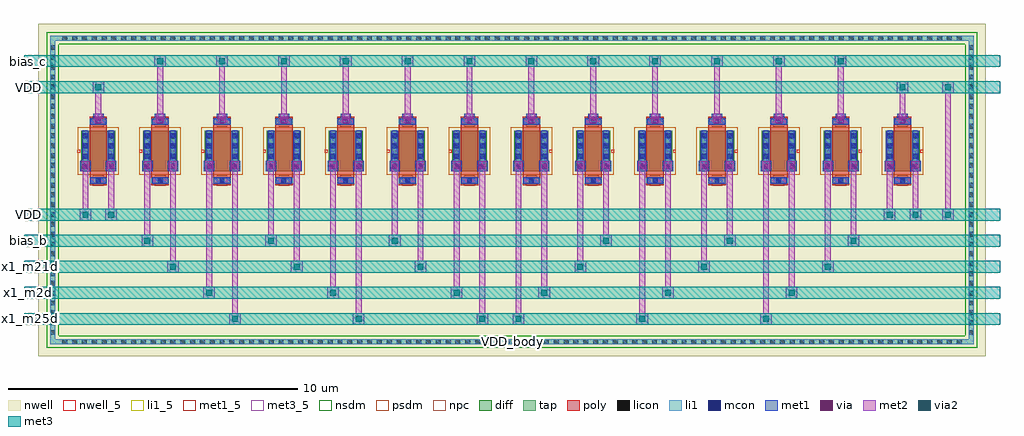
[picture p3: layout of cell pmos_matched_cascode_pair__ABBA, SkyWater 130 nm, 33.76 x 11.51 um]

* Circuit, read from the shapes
.subckt pmos_matched_cascode_pair__ABBA VDD VDD_body bias_b bias_c x1_m21d x1_m25d x1_m2d
XM1 VDD VDD VDD VDD_body sky130_fd_pr__pfet_01v8 w=1.4 l=0.6 m=2
XM2 x1_m21d bias_c bias_b VDD_body sky130_fd_pr__pfet_01v8 w=1.4 l=0.6 m=6
XM3 x1_m25d bias_c x1_m2d VDD_body sky130_fd_pr__pfet_01v8 w=1.4 l=0.6 m=6
.ends

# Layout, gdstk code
from math import pi, radians
import gdstk
lib = gdstk.Library(unit=1e-6, precision=1e-09)
def R(c, l, rs):  # rectangles x0, y0, x1, y1
    for r in rs: c.add(gdstk.rectangle(r[:2], r[2:], *l))
def A(c, l, x, y, w, h, nx, ny, dx, dy):  # array of equal rectangles
    R(c, l, [(x+i*dx, y+j*dy, x+i*dx+w, y+j*dy+h) for i in range(nx) for j in range(ny)])
nwell_5 = (64, 5)
nwell = (64, 20)
diff = (65, 20)
tap = (65, 44)
poly = (66, 20)
licon = (66, 44)
li1_5 = (67, 5)
li1 = (67, 20)
mcon = (67, 44)
met1_5 = (68, 5)
met1 = (68, 20)
via = (68, 44)
met2 = (69, 20)
via2 = (69, 44)
met3_5 = (70, 5)
met3 = (70, 20)
nsdm = (93, 44)
psdm = (94, 20)
npc = (95, 20)

sky130_fd_pr__pfet_01v8_ = lib.new_cell('sky130_fd_pr__pfet_01v8_RGDEC8')
R(sky130_fd_pr__pfet_01v8_, nwell, [(-0.77,-1.2,0.77,1.2)])
R(sky130_fd_pr__pfet_01v8_, diff, [(-0.59,-0.7,0.59,0.7)])
R(sky130_fd_pr__pfet_01v8_, poly, [(-0.3,-1.185,0.3,1.185)])
A(sky130_fd_pr__pfet_01v8_, licon, -0.53, -0.595, 0.17, 0.17, 1, 4, 0, 0.34)
A(sky130_fd_pr__pfet_01v8_, licon, 0.36, -0.595, 0.17, 0.17, 1, 4, 0, 0.34)
R(sky130_fd_pr__pfet_01v8_, licon, [(-0.085,-1.105,0.085,-0.935), (-0.085,0.935,0.085,1.105)])
R(sky130_fd_pr__pfet_01v8_, li1, [(-0.3,-1.105,0.3,-0.935), (-0.53,-0.72,-0.36,0.72), (0.36,-0.72,0.53,0.72), (-0.3,0.935,0.3,1.105)])
A(sky130_fd_pr__pfet_01v8_, mcon, -0.53, -0.625, 0.17, 0.17, 1, 4, 0, 0.36)
A(sky130_fd_pr__pfet_01v8_, mcon, 0.36, -0.625, 0.17, 0.17, 1, 4, 0, 0.36)
R(sky130_fd_pr__pfet_01v8_, mcon, [(-0.085,-1.105,0.085,-0.935), (-0.085,0.935,0.085,1.105)])
R(sky130_fd_pr__pfet_01v8_, met1, [(-0.28,-1.135,0.28,-0.905), (-0.56,-0.7,-0.33,0.7), (0.33,-0.7,0.56,0.7), (-0.28,0.905,0.28,1.135)])
R(sky130_fd_pr__pfet_01v8_, psdm, [(-0.715,-0.825,0.715,0.825)])
R(sky130_fd_pr__pfet_01v8_, npc, [(-0.185,-1.205,0.185,-0.835), (-0.185,0.835,0.185,1.205)])
sky130_fd_pr__pfet_01v8_.add(gdstk.Label('D', (-0.445,0), layer=67, texttype=5))
sky130_fd_pr__pfet_01v8_.add(gdstk.Label('S', (0.445,0), layer=67, texttype=5))
sky130_fd_pr__pfet_01v8_.add(gdstk.Label('G', (0,1.02), layer=67, texttype=5))

pfet_01v8_w1p4_l0p6_m6__ = lib.new_cell('pfet_01v8_W1p4_L0p6_m6__nf1_gboth_sdfull_ng')
R(pfet_01v8_w1p4_l0p6_m6__, nwell_5, [(0.05,1.15,0.15,1.25)])
R(pfet_01v8_w1p4_l0p6_m6__, nwell, [(0.05,1.15,0.15,1.25)])
R(pfet_01v8_w1p4_l0p6_m6__, met1_5, [(0.21,1.2,0.44,1.4), (1.1,1.2,1.33,1.4), (0.49,2.105,1.05,2.335)])
R(pfet_01v8_w1p4_l0p6_m6__, met1, [(0.21,1.2,0.44,1.4), (1.1,1.2,1.33,1.4), (0.49,2.105,1.05,2.335)])
pfet_01v8_w1p4_l0p6_m6__.add(gdstk.Reference(sky130_fd_pr__pfet_01v8_, (0.77,1.2)))
pfet_01v8_w1p4_l0p6_m6__.add(gdstk.Label('D', (0.325,1.3), layer=68, texttype=5))
pfet_01v8_w1p4_l0p6_m6__.add(gdstk.Label('S', (1.215,1.3), layer=68, texttype=5))
pfet_01v8_w1p4_l0p6_m6__.add(gdstk.Label('G', (0.77,2.22), layer=68, texttype=5))
pfet_01v8_w1p4_l0p6_m6__.add(gdstk.Label('B', (0.1,1.2), layer=64, texttype=5))

pmos_matched_cascode_pai = lib.new_cell('pmos_matched_cascode_pair__ABBA')
R(pmos_matched_cascode_pai, nwell, [(-1.3,-5.9,31.46,5.61)])
R(pmos_matched_cascode_pai, tap, [(-0.885,-5.485,31.045,-5.315), (-0.885,-5.315,-0.715,5.025), (30.875,-5.315,31.045,5.025), (-0.885,5.025,31.045,5.195)])
A(pmos_matched_cascode_pai, licon, -0.475, -5.485, 0.17, 0.17, 92, 2, 0.34, 10.51)
A(pmos_matched_cascode_pai, licon, -0.885, -5.16, 0.17, 0.17, 1, 30, 0, 0.34)
A(pmos_matched_cascode_pai, licon, 30.875, -5.16, 0.17, 0.17, 1, 30, 0, 0.34)
R(pmos_matched_cascode_pai, li1_5, [(15.03,-5.45,15.13,-5.35)])
R(pmos_matched_cascode_pai, li1, [(-0.885,-5.485,31.045,-5.315), (-0.885,-5.315,-0.715,5.025), (30.875,-5.315,31.045,5.025), (-0.885,5.025,31.045,5.195)])
A(pmos_matched_cascode_pai, met1, 0.59, 2.14, 0.36, 0.36, 14, 1, 2.14, 0)
R(pmos_matched_cascode_pai, met1, [(0.145,0.505,0.505,0.865), (1.035,0.505,1.395,0.865), (2.285,0.505,2.645,0.865), (3.175,0.505,3.535,0.865), (4.425,0.505,4.785,0.865), (5.315,0.505,5.675,0.865), (6.565,0.505,6.925,0.865), (7.455,0.505,7.815,0.865), (8.705,0.505,9.065,0.865), (9.595,0.505,9.955,0.865), (10.845,0.505,11.205,0.865), (11.735,0.505,12.095,0.865), (12.985,0.505,13.345,0.865), (13.875,0.505,14.235,0.865), (15.125,0.505,15.485,0.865), (16.015,0.505,16.375,0.865), (17.265,0.505,17.625,0.865), (18.155,0.505,18.515,0.865), (19.405,0.505,19.765,0.865), (20.295,0.505,20.655,0.865), (21.545,0.505,21.905,0.865), (22.435,0.505,22.795,0.865), (23.685,0.505,24.045,0.865), (24.575,0.505,24.935,0.865), (25.825,0.505,26.185,0.865), (26.715,0.505,27.075,0.865), (27.965,0.505,28.325,0.865), (28.855,0.505,29.215,0.865)])
A(pmos_matched_cascode_pai, via, 0.695, 2.245, 0.15, 0.15, 14, 1, 2.14, 0)
R(pmos_matched_cascode_pai, via, [(0.25,0.61,0.4,0.76), (1.14,0.61,1.29,0.76), (2.39,0.61,2.54,0.76), (3.28,0.61,3.43,0.76), (4.53,0.61,4.68,0.76), (5.42,0.61,5.57,0.76), (6.67,0.61,6.82,0.76), (7.56,0.61,7.71,0.76), (8.81,0.61,8.96,0.76), (9.7,0.61,9.85,0.76), (10.95,0.61,11.1,0.76), (11.84,0.61,11.99,0.76), (13.09,0.61,13.24,0.76), (13.98,0.61,14.13,0.76), (15.23,0.61,15.38,0.76), (16.12,0.61,16.27,0.76), (17.37,0.61,17.52,0.76), (18.26,0.61,18.41,0.76), (19.51,0.61,19.66,0.76), (20.4,0.61,20.55,0.76), (21.65,0.61,21.8,0.76), (22.54,0.61,22.69,0.76), (23.79,0.61,23.94,0.76), (24.68,0.61,24.83,0.76), (25.93,0.61,26.08,0.76), (26.82,0.61,26.97,0.76), (28.07,0.61,28.22,0.76), (28.96,0.61,29.11,0.76)])
A(pmos_matched_cascode_pai, met2, 5.295, -4.8, 0.4, 0.4, 3, 1, 4.28, 0)
A(pmos_matched_cascode_pai, met2, 15.105, -4.8, 0.4, 0.4, 3, 1, 4.28, 0)
A(pmos_matched_cascode_pai, met2, 5.395, -4.4, 0.2, 4.925, 3, 1, 4.28, 0)
A(pmos_matched_cascode_pai, met2, 15.205, -4.4, 0.2, 4.925, 3, 1, 4.28, 0)
A(pmos_matched_cascode_pai, met2, 4.405, -3.9, 0.4, 0.4, 3, 1, 4.28, 0)
A(pmos_matched_cascode_pai, met2, 15.995, -3.9, 0.4, 0.4, 3, 1, 4.28, 0)
A(pmos_matched_cascode_pai, met2, 4.505, -3.5, 0.2, 4.025, 3, 1, 4.28, 0)
A(pmos_matched_cascode_pai, met2, 16.095, -3.5, 0.2, 4.025, 3, 1, 4.28, 0)
A(pmos_matched_cascode_pai, met2, 3.155, -3, 0.4, 0.4, 3, 1, 4.28, 0)
A(pmos_matched_cascode_pai, met2, 17.245, -3, 0.4, 0.4, 3, 1, 4.28, 0)
A(pmos_matched_cascode_pai, met2, 3.255, -2.6, 0.2, 3.125, 3, 1, 4.28, 0)
A(pmos_matched_cascode_pai, met2, 17.345, -2.6, 0.2, 3.125, 3, 1, 4.28, 0)
A(pmos_matched_cascode_pai, met2, 2.265, -2.1, 0.4, 0.4, 3, 1, 4.28, 0)
A(pmos_matched_cascode_pai, met2, 18.135, -2.1, 0.4, 0.4, 3, 1, 4.28, 0)
A(pmos_matched_cascode_pai, met2, 2.365, -1.7, 0.2, 2.225, 3, 1, 4.28, 0)
A(pmos_matched_cascode_pai, met2, 18.235, -1.7, 0.2, 2.225, 3, 1, 4.28, 0)
A(pmos_matched_cascode_pai, met2, 0.64, 2.16, 0.26, 0.32, 14, 1, 2.14, 0)
A(pmos_matched_cascode_pai, met2, 2.81, 2.48, 0.2, 1.63, 12, 1, 2.14, 0)
A(pmos_matched_cascode_pai, met2, 2.71, 4.11, 0.4, 0.4, 12, 1, 2.14, 0)
R(pmos_matched_cascode_pai, met2, [(0.125,-1.2,0.525,-0.8), (1.015,-1.2,1.415,-0.8), (27.945,-1.2,28.345,-0.8), (28.835,-1.2,29.235,-0.8), (29.96,-1.2,30.36,-0.8), (0.225,-0.8,0.425,0.525), (1.115,-0.8,1.315,0.525), (28.045,-0.8,28.245,0.525), (28.935,-0.8,29.135,0.525), (30.06,-0.8,30.26,3.21), (0.195,0.525,0.455,0.845), (1.085,0.525,1.345,0.845), (2.335,0.525,2.595,0.845), (3.225,0.525,3.485,0.845), (4.475,0.525,4.735,0.845), (5.365,0.525,5.625,0.845), (6.615,0.525,6.875,0.845), (7.505,0.525,7.765,0.845), (8.755,0.525,9.015,0.845), (9.645,0.525,9.905,0.845), (10.895,0.525,11.155,0.845), (11.785,0.525,12.045,0.845), (13.035,0.525,13.295,0.845), (13.925,0.525,14.185,0.845), (15.175,0.525,15.435,0.845), (16.065,0.525,16.325,0.845), (17.315,0.525,17.575,0.845), (18.205,0.525,18.465,0.845), (19.455,0.525,19.715,0.845), (20.345,0.525,20.605,0.845), (21.595,0.525,21.855,0.845), (22.485,0.525,22.745,0.845), (23.735,0.525,23.995,0.845), (24.625,0.525,24.885,0.845), (25.875,0.525,26.135,0.845), (26.765,0.525,27.025,0.845), (28.015,0.525,28.275,0.845), (28.905,0.525,29.165,0.845), (0.67,2.48,0.87,3.21), (28.49,2.48,28.69,3.21), (0.57,3.21,0.97,3.61), (28.39,3.21,28.79,3.61), (29.96,3.21,30.36,3.61)])
A(pmos_matched_cascode_pai, via2, 5.395, -4.7, 0.2, 0.2, 3, 1, 4.28, 0)
A(pmos_matched_cascode_pai, via2, 15.205, -4.7, 0.2, 0.2, 3, 1, 4.28, 0)
A(pmos_matched_cascode_pai, via2, 4.505, -3.8, 0.2, 0.2, 3, 1, 4.28, 0)
A(pmos_matched_cascode_pai, via2, 16.095, -3.8, 0.2, 0.2, 3, 1, 4.28, 0)
A(pmos_matched_cascode_pai, via2, 3.255, -2.9, 0.2, 0.2, 3, 1, 4.28, 0)
A(pmos_matched_cascode_pai, via2, 17.345, -2.9, 0.2, 0.2, 3, 1, 4.28, 0)
A(pmos_matched_cascode_pai, via2, 2.365, -2, 0.2, 0.2, 3, 1, 4.28, 0)
A(pmos_matched_cascode_pai, via2, 18.235, -2, 0.2, 0.2, 3, 1, 4.28, 0)
A(pmos_matched_cascode_pai, via2, 2.81, 4.21, 0.2, 0.2, 12, 1, 2.14, 0)
R(pmos_matched_cascode_pai, via2, [(0.225,-1.1,0.425,-0.9), (1.115,-1.1,1.315,-0.9), (28.045,-1.1,28.245,-0.9), (28.935,-1.1,29.135,-0.9), (30.06,-1.1,30.26,-0.9), (0.67,3.31,0.87,3.51), (28.49,3.31,28.69,3.51), (30.06,3.31,30.26,3.51)])
A(pmos_matched_cascode_pai, met3_5, -1.7, -4.65, 0.1, 0.1, 1, 5, 0, 0.9)
R(pmos_matched_cascode_pai, met3_5, [(-1.7,3.36,-1.6,3.46), (-1.7,4.26,-1.6,4.36)])
A(pmos_matched_cascode_pai, met3, -1.8, -4.8, 33.76, 0.4, 1, 5, 0, 0.9)
R(pmos_matched_cascode_pai, met3, [(-1.8,3.21,31.96,3.61), (-1.8,4.11,31.96,4.51)])
R(pmos_matched_cascode_pai, nsdm, [(-1.01,-5.61,31.17,-5.19), (-1.01,-5.19,-0.59,4.9), (30.75,-5.19,31.17,4.9), (-1.01,4.9,31.17,5.32)])
pmos_matched_cascode_pai.add(gdstk.Reference(pfet_01v8_w1p4_l0p6_m6__, (29.36,0), rotation=pi, x_reflection=True))
pmos_matched_cascode_pai.add(gdstk.Reference(pfet_01v8_w1p4_l0p6_m6__, (27.22,0), rotation=pi, x_reflection=True))
pmos_matched_cascode_pai.add(gdstk.Reference(pfet_01v8_w1p4_l0p6_m6__, (25.08,0), rotation=pi, x_reflection=True))
pmos_matched_cascode_pai.add(gdstk.Reference(pfet_01v8_w1p4_l0p6_m6__, (22.94,0), rotation=pi, x_reflection=True))
pmos_matched_cascode_pai.add(gdstk.Reference(pfet_01v8_w1p4_l0p6_m6__, (20.8,0), rotation=pi, x_reflection=True))
pmos_matched_cascode_pai.add(gdstk.Reference(pfet_01v8_w1p4_l0p6_m6__, (18.66,0), rotation=pi, x_reflection=True))
pmos_matched_cascode_pai.add(gdstk.Reference(pfet_01v8_w1p4_l0p6_m6__, (16.52,0), rotation=pi, x_reflection=True))
pmos_matched_cascode_pai.add(gdstk.Reference(pfet_01v8_w1p4_l0p6_m6__, (12.84,0)))
pmos_matched_cascode_pai.add(gdstk.Reference(pfet_01v8_w1p4_l0p6_m6__, (10.7,0)))
pmos_matched_cascode_pai.add(gdstk.Reference(pfet_01v8_w1p4_l0p6_m6__, (8.56,0)))
pmos_matched_cascode_pai.add(gdstk.Reference(pfet_01v8_w1p4_l0p6_m6__, (6.42,0)))
pmos_matched_cascode_pai.add(gdstk.Reference(pfet_01v8_w1p4_l0p6_m6__, (4.28,0)))
pmos_matched_cascode_pai.add(gdstk.Reference(pfet_01v8_w1p4_l0p6_m6__, (2.14,0)))
pmos_matched_cascode_pai.add(gdstk.Reference(pfet_01v8_w1p4_l0p6_m6__, (0,0)))
pmos_matched_cascode_pai.add(gdstk.Label('VDD', (-1.65,3.41), layer=70, texttype=5))
pmos_matched_cascode_pai.add(gdstk.Label('bias_c', (-1.65,4.31), layer=70, texttype=5))
pmos_matched_cascode_pai.add(gdstk.Label('VDD', (-1.65,-1), layer=70, texttype=5))
pmos_matched_cascode_pai.add(gdstk.Label('bias_b', (-1.65,-1.9), layer=70, texttype=5))
pmos_matched_cascode_pai.add(gdstk.Label('x1_m21d', (-1.65,-2.8), layer=70, texttype=5))
pmos_matched_cascode_pai.add(gdstk.Label('x1_m2d', (-1.65,-3.7), layer=70, texttype=5))
pmos_matched_cascode_pai.add(gdstk.Label('x1_m25d', (-1.65,-4.6), layer=70, texttype=5))
pmos_matched_cascode_pai.add(gdstk.Label('VDD_body', (15.08,-5.4), layer=67, texttype=5))

lib.write_gds('pmos_matched_cascode_pair__ABBA.gds')
